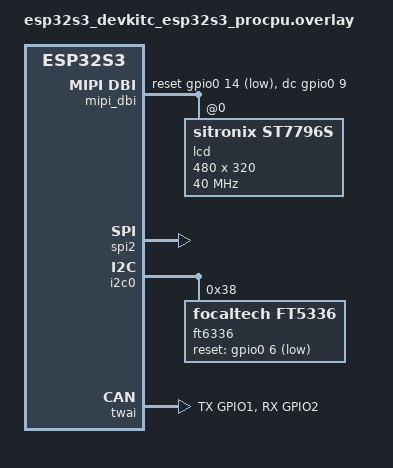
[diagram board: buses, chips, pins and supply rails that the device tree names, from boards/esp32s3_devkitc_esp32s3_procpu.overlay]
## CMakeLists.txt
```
cmake_minimum_required(VERSION 3.20.0)

find_package(Zephyr REQUIRED HINTS $ENV{ZEPHYR_BASE})

project(controller)
target_sources(app PRIVATE src/main.c)
target_include_directories(app PRIVATE
  ${CMAKE_CURRENT_SOURCE_DIR}/../../lib
)
```

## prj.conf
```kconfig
# ESP32-S3 N16R8 module: 16MB external flash, 8MB of external SPI PSRAM
# in addition to 384KB internal ROM and 512KB internal SRAM.
# Octal mode is required for external PSRAM,
# otherwise the default quad probe fails at boot
CONFIG_ESP_SPIRAM=y
CONFIG_SPIRAM_MODE_OCT=y

CONFIG_GPIO=y
CONFIG_INPUT=y

CONFIG_LV_Z_MEM_POOL_SIZE=16384
CONFIG_MAIN_STACK_SIZE=4096

CONFIG_DISPLAY=y
CONFIG_DISPLAY_LOG_LEVEL_WRN=y

CONFIG_LVGL=y
CONFIG_LV_CONF_MINIMAL=y
CONFIG_LV_USE_THEME_DEFAULT=y
CONFIG_LV_USE_LOG=y
CONFIG_LV_COLOR_16_SWAP=y
CONFIG_LV_USE_LABEL=y
CONFIG_LV_USE_BUTTON=y
CONFIG_LV_FONT_MONTSERRAT_20=y
CONFIG_LV_FONT_DEFAULT_MONTSERRAT_20=y

CONFIG_CAN=y
```

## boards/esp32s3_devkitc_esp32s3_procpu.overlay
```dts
/ {

  chosen {
    zephyr,display = &lcd;	
	zephyr,canbus = &twai;
  };

  mipi_dbi {
    compatible = "zephyr,mipi-dbi-spi";
	spi-dev = <&spi2>;
	dc-gpios = <&gpio0 9 GPIO_ACTIVE_HIGH>;
	reset-gpios = <&gpio0 14 GPIO_ACTIVE_LOW>;
	write-only;

	#address-cells = <1>;
	#size-cells = <0>;
 	
	lcd: st7796s@0 {
		reg = <0>;
		compatible = "sitronix,st7796s";	
		mipi-max-frequency = <40000000>; // 40 MHZ
		
		/* PGC and NGC values copied from https://github.com/Bodmer/TFT_eSPI/blob/16e37595040eac69cd628e4bffb56fc30cad6299/TFT_Drivers/ST7796_Init.h#L61 */
		pgc = [F0 09 0b 06 04 15 2F 54 42 3C 17 14 18 1B];
		ngc = [E0 09 0B 06 04 03 2B 43 42 3B 16 14 17 1B];

		// madctl pg. 183 of https://www.displayfuture.com/Display/datasheet/controller/ST7796s.pdf
		// Setting for landscape mode with mcu to mem col/row pixel direction.
		// (MY, MX, and MV bits set + BGR bit == 0xE8)
		madctl = <0xE8>;
		height = <320>;
		width = <480>;
	};
  };

  touch_input: touch_input {
	compatible = "zephyr,lvgl-pointer-input";
	input = <&ft6336>;
	invert-x;
  };

  ledstripctrl: ledstripctrl {
    compatible = "gpio-ledstrip-ctrls";

    enable-gpios = <&gpio1 15 GPIO_ACTIVE_HIGH>; // 47
    mode-gpios = <&gpio0 21 GPIO_ACTIVE_HIGH>;
  };
};

/*
 NOTE: GPIO 35, 36, 37 are taken for external PSRAM.

 See pg. 31 of https://documentation.espressif.com/esp32-s3_datasheet_en.pdf
*/

/*
 pg. 27 of esp32-s3 datasheet shows periph pin assignments.

 SPI 0/1 are mainly internal buses. SPI 2/3 are for general purpose.
  See: https://documentation.espressif.com/esp32-s3_technical_reference_manual_en.pdf#spi

 Default SPI2 pins are:
  - CS: 10
  - MOSI: 11
  - CLK: 12

 And for other LCD pins:
  - LCD_RS: 9
  - LCD_RST: 14

 For I2C (for capacitive touch), many options.
 Can use pins on same side of board as SPI 2:
  - CTP_INT: 4
  - CTP_SDA: 5
  - CTP_RST: 6
  - CTP_SCL: 7
 I2C addr is 0x38 per https://manuals.plus/asin/B0CRGQN58D.pdf pg 11

 TWAI (CAN) has many options.
 To place on opposite side of board from LCD:
 - TX: 1
 - RX: 2
*/

&spi2 {
    pinctrl-0 = <&spim2_default>;
    pinctrl-names = "default";
	status = "okay";
};

&pinctrl {
	i2c0_custom: i2c0_custom {
		group1 {
			pinmux = <I2C0_SDA_GPIO5>, <I2C0_SCL_GPIO7>;
			bias-pull-up;
			drive-open-drain;
			output-high;	
		};
	};

	twai_custom: twai_custom {
		group1 {
			pinmux = < TWAI_TX_GPIO1 >, < TWAI_RX_GPIO2 >;
		};	
	};
};

&i2c0 {
	status = "okay";
	pinctrl-0 = < &i2c0_custom >;
	pinctrl-names = "default";

	ft6336: ft6336@38 {
		compatible = "focaltech,ft5336"; // handles ft6336 as well
		reg = <0x38>;
		// NOTE: the interrupt for ft6336 is only when finger is pressed
		// so it misses the release signals
		// By not specifying an int gpio, the driver will use polling instead
		// int-gpios = <&gpio0 4 GPIO_ACTIVE_LOW>;
		reset-gpios = <&gpio0 6 GPIO_ACTIVE_LOW>;

		screen-height = <320>;
		screen-width = <480>;
	};
};

&twai {
	status = "okay";
	pinctrl-0 = < &twai_custom >;	
	pinctrl-names = "default";
};
```

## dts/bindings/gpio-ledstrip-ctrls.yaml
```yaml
description: |
  A group of GPIO pins that control a pre-fabbed LED strip controller
  via transistors replacing manual button presses.

compatible: "gpio-ledstrip-ctrls"

properties:
  enable-gpios:
    type: phandle-array
    required: true
    description: Controls power to the unit (active high).

  mode-gpios:
    type: phandle-array
    required: true
    description: Replicates pressing the mode button to cycle through color patterns.
```

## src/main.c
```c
#include "can_protocol.h"
#include <lvgl.h>
#include <zephyr/drivers/can.h>
#include <zephyr/drivers/display.h>
#include <zephyr/drivers/gpio.h>
#include <zephyr/input/input.h>
#include <zephyr/kernel.h>

#define SLEEP_TIME_MS 5

#define RX_THREAD_STACK_SIZE 1024
#define RX_THREAD_PRIORITY 2

static struct gpio_dt_spec ledstrip_enable_pin =
    GPIO_DT_SPEC_GET(DT_NODELABEL(ledstripctrl), enable_gpios);
static struct gpio_dt_spec ledstrip_mode_pin =
    GPIO_DT_SPEC_GET(DT_NODELABEL(ledstripctrl), mode_gpios);

const struct device *const can_dev = DEVICE_DT_GET(DT_CHOSEN(zephyr_canbus));

K_THREAD_STACK_DEFINE(rx_thread_stack, RX_THREAD_STACK_SIZE);

CAN_MSGQ_DEFINE(controller_can_msgq, 10);

struct k_thread rx_thread_data;

void tx_irq_callback(const struct device *dev, int error, void *arg) {
  char *sender = (char *)arg;

  ARG_UNUSED(dev);

  if (error != 0) {
    printk("Callback! error-code: %d\nSender: %s\n", error, sender);
  }
}

void rx_thread(void *arg1, void *arg2, void *arg3) {
  ARG_UNUSED(arg1);
  ARG_UNUSED(arg2);
  ARG_UNUSED(arg3);

  struct can_frame frame;
  enum can_result can_res;
  char *ok_text = "ok";
  char *err_text = "ERR";
  char *res_text;

  while (1) {
    k_msgq_get(&controller_can_msgq, &frame, K_FOREVER);

    if (frame.dlc != 1U) {
      printk("Wrong data length: %u\n", frame.dlc);
      continue;
    }

    can_res = frame.data[0];
    res_text = can_res == CAN_RES_OK ? ok_text : err_text;

    printk("Result received: %s\n raw code: %u\n", res_text, can_res);
  }
}

struct button {
  const char *name;
  enum can_target target;
  lv_align_t align;
  int32_t x_offset;
  int32_t y_offset;
  uint32_t cnt;
};

#define BUTTON(NAME, TARGET, ALIGN, X, Y)                                      \
  {.name = NAME,                                                               \
   .target = TARGET,                                                           \
   .align = ALIGN,                                                             \
   .x_offset = X,                                                              \
   .y_offset = Y,                                                              \
   .cnt = 0}

static struct button buttons[] = {
    BUTTON("A", CAN_TARGET_A, LV_ALIGN_TOP_LEFT, 10, 10),
    BUTTON("B", CAN_TARGET_B, LV_ALIGN_TOP_MID, 0, 10),
    BUTTON("C", CAN_TARGET_C, LV_ALIGN_TOP_RIGHT, -10, 10),
    BUTTON("D", CAN_TARGET_D, LV_ALIGN_LEFT_MID, 10, 10),
    BUTTON("E", CAN_TARGET_E, LV_ALIGN_CENTER, 0, 10),
    BUTTON("F", CAN_TARGET_F, LV_ALIGN_RIGHT_MID, -10, 10)};

#define NUM_BUTTONS (sizeof(buttons) / sizeof(struct button))

static const struct device *display_dev =
    DEVICE_DT_GET(DT_CHOSEN(zephyr_display));

void btn_handler(lv_event_t *e) {
  struct button *b = (struct button *)lv_event_get_user_data(e);

  b->cnt++; // reminder to self, not thread safe!

  lv_obj_t *obj = lv_event_get_target_obj(e);
  lv_obj_t *label = lv_obj_get_child(obj, 0);
  lv_label_set_text_fmt(label, "%s: %u", b->name, b->cnt);

  struct can_frame frame = {
      .flags = 0,
      .id = CAN_ID_DISPENSE,
      .dlc = 1,
      .data = {b->target},
  };

  /* This sending call is non blocking. */
  can_send(can_dev, &frame, K_NO_WAIT, tx_irq_callback, "Button click");
}

#define LED_STRIP_SETTING_NUM 9
#define LED_STRIP_WAIT_MS 100

int ledstrip_init(void) {
  struct gpio_dt_spec *en = &ledstrip_enable_pin;
  struct gpio_dt_spec *mode = &ledstrip_mode_pin;

  if (!gpio_is_ready_dt(en)) {
    return -ENODEV;
  }
  if (!gpio_is_ready_dt(mode)) {
    return -ENODEV;
  }
  gpio_pin_configure_dt(en, GPIO_OUTPUT);
  gpio_pin_configure_dt(mode, GPIO_OUTPUT);

  gpio_pin_set_dt(en, 0);
  k_msleep(75);
  gpio_pin_set_dt(en, 1);
  k_msleep(75);

  gpio_pin_set_dt(mode, 0);

  for (int i = 0; i < LED_STRIP_SETTING_NUM; i++) {
    gpio_pin_set_dt(mode, 1);
    k_msleep(LED_STRIP_WAIT_MS);
    gpio_pin_set_dt(mode, 0);
    k_msleep(LED_STRIP_WAIT_MS);
  }

  return 0;
}

int main(void) {
  if (!device_is_ready(display_dev)) {
    printk("Display not ready\n");
    return 0;
  }

  if (!device_is_ready(can_dev)) {
    printk("CAN: Device %s not ready.\n", can_dev->name);
    return 0;
  }

  // TODO: make this a single shot, non-blocking task
  // so screen can still init
  int ret = ledstrip_init();
  if (ret != 0) {
    printk("Led strip ctrl failed with code %d\n", ret);
    // ok to proceed anyway
  }

  ret = can_set_mode(can_dev, CAN_MODE_NORMAL);
  if (ret != 0) {
    printk("Error setting CAN mode [%d]\n", ret);
    return 0;
  }

  ret = can_start(can_dev);
  if (ret != 0) {
    printk("Error starting CAN controller [%d]\n", ret);
    return 0;
  }

  const struct can_filter filter = {
      .flags = 0U,
      .id = CAN_ID_DISPENSE_RESP,
      .mask = CAN_MASK_CLASS_AND_NODE,
  };

  int filter_id =
      can_add_rx_filter_msgq(can_dev, &controller_can_msgq, &filter);
  if (filter_id < 0) {
    printk("Unable to add rx filter [%d]\n", filter_id);
    return 0;
  }

  k_tid_t rx_tid = k_thread_create(
      &rx_thread_data, rx_thread_stack, K_THREAD_STACK_SIZEOF(rx_thread_stack),
      rx_thread, NULL, NULL, NULL, RX_THREAD_PRIORITY, 0, K_NO_WAIT);
  if (!rx_tid) {
    printk("ERROR spawning rx thread\n");
  }

  for (int i = 0; i < NUM_BUTTONS; i++) {
    struct button *b = &buttons[i];
    lv_obj_t *btn = lv_button_create(lv_screen_active());
    lv_obj_align(btn, b->align, b->x_offset, b->y_offset);
    lv_obj_set_size(btn, 150, 100);
    lv_obj_add_event_cb(btn, btn_handler, LV_EVENT_CLICKED, b);

    lv_obj_t *label = lv_label_create(btn);
    lv_label_set_text_fmt(label, "%s: %d", b->name, b->cnt);
    lv_obj_center(label);
  }

  display_blanking_off(display_dev);

  printk("main loop\n");

  while (1) {
    lv_timer_handler();

    k_msleep(SLEEP_TIME_MS);
  }

  return 0;
}
```
